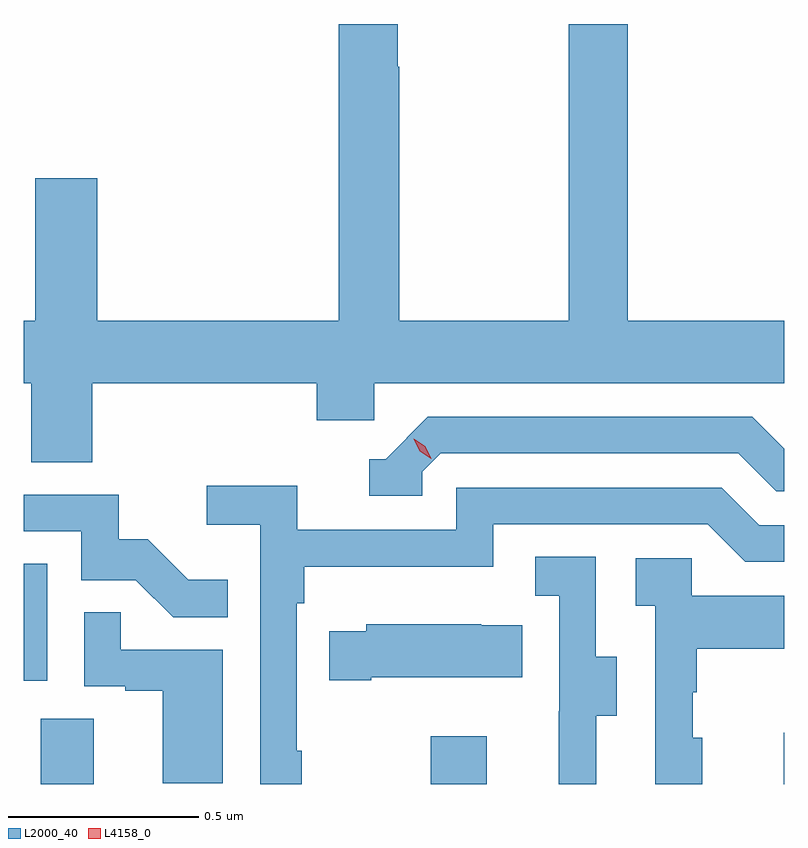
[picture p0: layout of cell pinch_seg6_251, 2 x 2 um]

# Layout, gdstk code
import gdstk
lib = gdstk.Library(unit=1e-6, precision=1e-09)
def R(c, l, rs):  # rectangles x0, y0, x1, y1
    for r in rs: c.add(gdstk.rectangle(r[:2], r[2:], *l))
def P(c, l, *ps):  # polygons
    for p in ps: c.add(gdstk.Polygon(p, *l))
L2000_40 = (2000, 40)
L4158_0 = (4158, 0)

pinch_seg6_251 = lib.new_cell('pinch_seg6_251')
R(pinch_seg6_251, L2000_40, [(1142.045,915.646,1142.185,915.818), (1143.07,915.646,1143.217,915.772), (1143.998,915.646,1144,915.781), (1142,915.918,1142.062,916.225)])
P(pinch_seg6_251, L2000_40, [(1142.18,916.7),(1142.771,916.7),(1142.771,916.602),(1142.922,916.602),(1142.922,916.7),(1144,916.7),(1144,916.864),(1143.588,916.864),(1143.588,917.644),(1143.433,917.644),(1143.433,916.864),(1142.988,916.864),(1142.988,917.531),(1142.983,917.531),(1142.983,917.644),(1142.828,917.644),(1142.828,916.864),(1142.194,916.864),(1142.194,917.239),(1142.03,917.239),(1142.03,916.864),(1142,916.864),(1142,916.7),(1142.02,916.7),(1142.02,916.492),(1142.18,916.492)],
  [(1143.048,916.467),(1143.096,916.515),(1143.879,916.515),(1143.978,916.416),(1144,916.416),(1144,916.527),(1143.916,916.611),(1143.063,916.611),(1142.952,916.5),(1142.909,916.5),(1142.909,916.404),(1143.048,916.404)],
  [(1142.731,915.733),(1142.718,915.733),(1142.718,916.121),(1142.738,916.121),(1142.738,916.217),(1143.234,916.217),(1143.234,916.329),(1143.798,916.329),(1143.897,916.23),(1144,916.23),(1144,916.326),(1143.934,916.326),(1143.835,916.425),(1143.138,916.425),(1143.138,916.314),(1142.72,916.314),(1142.72,916.43),(1142.481,916.43),(1142.481,916.328),(1142.622,916.328),(1142.622,915.646),(1142.731,915.646)],
  [(1142.537,916.183),(1142.433,916.183),(1142.326,916.29),(1142.25,916.29),(1142.25,916.407),(1142,916.407),(1142,916.311),(1142.151,916.311),(1142.151,916.182),(1142.295,916.182),(1142.393,916.084),(1142.537,916.084)],
  [(1143.505,915.826),(1143.559,915.826),(1143.559,915.981),(1143.504,915.981),(1143.504,916.244),(1143.345,916.244),(1143.345,916.141),(1143.408,916.141),(1143.408,915.837),(1143.407,915.837),(1143.407,915.646),(1143.505,915.646)],
  [(1143.784,915.768),(1143.759,915.768),(1143.759,915.887),(1143.769,915.887),(1143.769,916.001),(1144,916.001),(1144,916.141),(1143.756,916.141),(1143.756,916.239),(1143.609,916.239),(1143.609,916.115),(1143.66,916.115),(1143.66,915.646),(1143.784,915.646)],
  [(1142.524,915.999),(1142.255,915.999),(1142.255,916.097),(1142.16,916.097),(1142.16,915.903),(1142.267,915.903),(1142.267,915.891),(1142.366,915.891),(1142.366,915.648),(1142.524,915.648)],
  [(1142.914,915.926),(1143.311,915.926),(1143.311,916.063),(1143.203,916.063),(1143.203,916.066),(1142.901,916.066),(1142.901,916.048),(1142.803,916.048),(1142.803,915.919),(1142.914,915.919)])
P(pinch_seg6_251, L4158_0, [(1143.071,916.501),(1143.041,916.521),(1143.025,916.553),(1143.025,916.553),(1143.026,916.553),(1143.056,916.534),(1143.072,916.502),(1143.072,916.501)])

lib.write_gds('pinch_seg6_251.gds')
